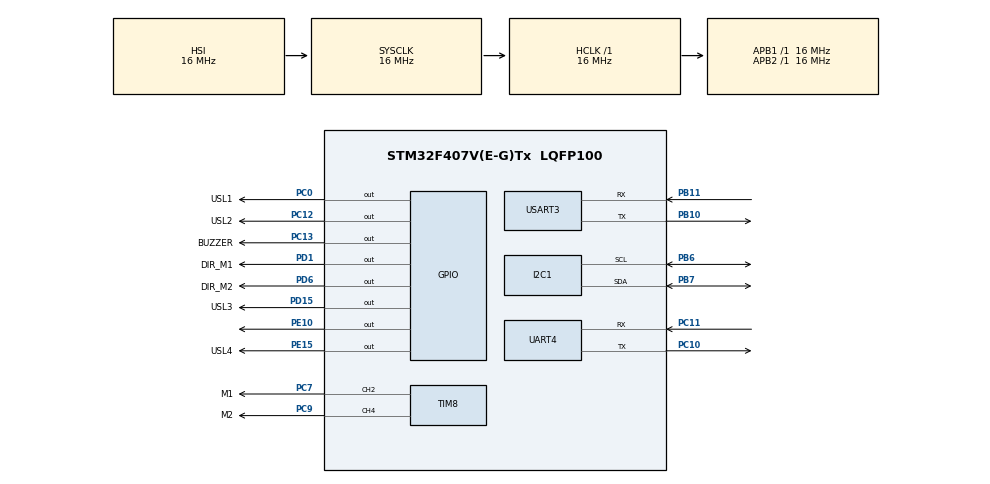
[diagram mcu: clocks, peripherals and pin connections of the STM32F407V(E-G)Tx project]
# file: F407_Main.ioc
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Dma.Request0=USART3_RX
Dma.Request1=UART4_RX
Dma.UART4_RX.1.Direction=DMA_PERIPH_TO_MEMORY
Dma.UART4_RX.1.FIFOMode=DMA_FIFOMODE_DISABLE
Dma.UART4_RX.1.Instance=DMA1_Stream2
Dma.UART4_RX.1.MemDataAlignment=DMA_MDATAALIGN_BYTE
Dma.UART4_RX.1.MemInc=DMA_MINC_ENABLE
Dma.UART4_RX.1.Mode=DMA_CIRCULAR
Dma.UART4_RX.1.PeriphDataAlignment=DMA_PDATAALIGN_BYTE
Dma.UART4_RX.1.PeriphInc=DMA_PINC_DISABLE
Dma.UART4_RX.1.Priority=DMA_PRIORITY_LOW
Dma.USART3_RX.0.Direction=DMA_PERIPH_TO_MEMORY
Dma.USART3_RX.0.FIFOMode=DMA_FIFOMODE_DISABLE
Dma.USART3_RX.0.Instance=DMA1_Stream1
Dma.USART3_RX.0.MemDataAlignment=DMA_MDATAALIGN_BYTE
Dma.USART3_RX.0.MemInc=DMA_MINC_ENABLE
Dma.USART3_RX.0.Mode=DMA_CIRCULAR
Dma.USART3_RX.0.PeriphDataAlignment=DMA_PDATAALIGN_BYTE
Dma.USART3_RX.0.PeriphInc=DMA_PINC_DISABLE
Dma.USART3_RX.0.Priority=DMA_PRIORITY_LOW
Mcu.Family=STM32F4
Mcu.Name=STM32F407V(E-G)Tx
Mcu.Package=LQFP100
NVIC.DMA1_Stream1_IRQn=true\:0\:0\:false\:false\:true\:false\:true\:true
NVIC.DMA1_Stream2_IRQn=true\:0\:0\:false\:false\:true\:false\:true\:true
NVIC.FPU_IRQn=true\:0\:0\:false\:false\:true\:true\:false\:true
NVIC.I2C1_ER_IRQn=true\:0\:0\:false\:false\:true\:true\:true\:true
NVIC.I2C1_EV_IRQn=true\:0\:0\:false\:false\:true\:true\:true\:true
NVIC.PriorityGroup=NVIC_PRIORITYGROUP_3
NVIC.RCC_IRQn=true\:1\:0\:true\:false\:true\:true\:false\:true
NVIC.TIM1_CC_IRQn=true\:0\:0\:false\:false\:true\:true\:true\:true
NVIC.TIM1_UP_TIM10_IRQn=true\:1\:0\:true\:false\:true\:true\:true\:true
NVIC.TIM8_CC_IRQn=true\:0\:0\:true\:false\:true\:true\:true\:true
NVIC.TIM8_UP_TIM13_IRQn=true\:0\:0\:true\:false\:true\:true\:true\:true
NVIC.UART4_IRQn=true\:0\:0\:false\:false\:true\:true\:true\:true
PA13.Mode=Serial_Wire
PA13.Signal=SYS_JTMS-SWDIO
PA14.Mode=Serial_Wire
PA14.Signal=SYS_JTCK-SWCLK
PB10.Mode=Asynchronous
PB10.Signal=USART3_TX
PB11.Mode=Asynchronous
PB11.Signal=USART3_RX
PB6.GPIO_Pu=GPIO_PULLUP
PB6.Mode=I2C
PB6.Signal=I2C1_SCL
PB7.GPIO_Pu=GPIO_PULLUP
PB7.Mode=I2C
PB7.Signal=I2C1_SDA
PC0.GPIO_Label=USL1
PC0.GPIO_ModeDefaultOutputPP=GPIO_MODE_OUTPUT_OD
PC0.GPIO_PuPd=GPIO_NOPULL
PC0.GPIO_Speed=GPIO_SPEED_FREQ_VERY_HIGH
PC0.PinState=GPIO_PIN_SET
PC0.Signal=GPIO_Output
PC10.Mode=Asynchronous
PC10.Signal=UART4_TX
PC11.Mode=Asynchronous
PC11.Signal=UART4_RX
PC12.GPIO_Label=USL2
PC12.PinState=GPIO_PIN_RESET
PC12.Signal=GPIO_Output
PC13-ANTI_TAMP.GPIO_Label=BUZZER
PC13-ANTI_TAMP.GPIO_ModeDefaultOutputPP=GPIO_MODE_OUTPUT_OD
PC13-ANTI_TAMP.GPIO_PuPd=GPIO_NOPULL
PC13-ANTI_TAMP.Signal=GPIO_Output
PC14-OSC32_IN.Mode=LSE-External-Oscillator
PC14-OSC32_IN.Signal=RCC_OSC32_IN
PC15-OSC32_OUT.Mode=LSE-External-Oscillator
PC15-OSC32_OUT.Signal=RCC_OSC32_OUT
PC7.GPIO_Label=M1
PC7.Signal=S_TIM8_CH2
PC9.GPIO_Label=M2
PC9.Signal=S_TIM8_CH4
PD1.GPIO_Label=DIR_M1
PD1.Signal=GPIO_Output
PD15.GPIO_Label=USL3
PD15.PinState=GPIO_PIN_RESET
PD15.Signal=GPIO_Output
PD6.GPIO_Label=DIR_M2
PD6.Signal=GPIO_Output
PE10.PinState=GPIO_PIN_RESET
PE10.Signal=GPIO_Output
PE15.GPIO_Label=USL4
PE15.PinState=GPIO_PIN_RESET
PE15.Signal=GPIO_Output
PH0-OSC_IN.Mode=HSE-External-Oscillator
PH0-OSC_IN.Signal=RCC_OSC_IN
PH1-OSC_OUT.Mode=HSE-External-Oscillator
PH1-OSC_OUT.Signal=RCC_OSC_OUT
ProjectManager.HeapSize=0x200
ProjectManager.StackSize=0x400
ProjectManager.TargetToolchain=MDK-ARM V5
RCC.48MHZClocksFreq_Value=32000000
RCC.AHBFreq_Value=16000000
RCC.APB1Freq_Value=16000000
RCC.APB1TimFreq_Value=16000000
RCC.APB2Freq_Value=16000000
RCC.APB2TimFreq_Value=16000000
RCC.CortexFreq_Value=16000000
RCC.HCLKFreq_Value=16000000
RCC.HSE_VALUE=25000000
RCC.HSI_VALUE=16000000
RCC.PLLM=25
RCC.PLLN=128
RCC.PLLSourceVirtual=RCC_PLLSOURCE_HSE
RCC.SYSCLKFreq_VALUE=16000000
RCC.VCOOutputFreq_Value=128000000
SH.S_TIM8_CH2.0=TIM8_CH2,PWM Generation2 CH2
SH.S_TIM8_CH4.0=TIM8_CH4,PWM Generation4 CH4
TIM8.Channel-PWM\ Generation2\ CH2=TIM_CHANNEL_2
TIM8.Channel-PWM\ Generation4\ CH4=TIM_CHANNEL_4
TIM8.OCPolarity_2=TIM_OCPOLARITY_LOW
UART4.VirtualMode=Asynchronous
USART3.VirtualMode=VM_ASYNC
VP_TIM1_VS_ClockSourceINT.Mode=Internal
board=custom

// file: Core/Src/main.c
/* USER CODE BEGIN Header */
/**
 ******************************************************************************
 * @file           : main.c
 * @brief          : Main program body
 ******************************************************************************
 * @attention
 *
 * Copyright (c) 2023 STMicroelectronics.
 * All rights reserved.
 *
 * This software is licensed under terms that can be found in the LICENSE file
 * in the root directory of this software component.
 * If no LICENSE file comes with this software, it is provided AS-IS.
 *
 ******************************************************************************
 */
/* USER CODE END Header */
#include "main.h"
#include "dma.h"
#include "i2c.h"
#include "tim.h"
#include "usart.h"
#include "gpio.h"

/* USER CODE BEGIN Includes */
#include "stdbool.h"
#include "pid.h"
#include "math.h"
// #include "tca9548a.h"

/* USER CODE END Includes */

/* USER CODE BEGIN PTD */
PID_TypeDef RPID;
/* USER CODE END PTD */

/* USER CODE BEGIN PV */

uint16_t PWM_Freq = 5000;

// variables for MPU data
uint8_t Buffer[11];
bool check = 1;
float theta = 0;

// variables for UART to Swerve module
uint16_t temp_angle = 300;

// variables for I2C
uint16_t SWERVE_DRIVE_1_ADDR = 0x15 << 1;
uint8_t I2C_Tx_Buffer[] = {0x05, 0x00, 0x00};
uint8_t Scan_arr[128];
/* USER CODE END PV */

void SystemClock_Config(void);

/* USER CODE BEGIN PFP */
void HAL_UART_RxCpltCallback(UART_HandleTypeDef *huart);
/* USER CODE END PFP */

/* USER CODE BEGIN 0 */

void Buzzer_Beep(uint8_t times, uint8_t duration)
{
  for (uint8_t i = 0; i < times; i++)
  {
    HAL_GPIO_WritePin(BUZZER_GPIO_Port, BUZZER_Pin, GPIO_PIN_RESET);
    HAL_Delay(duration);
    HAL_GPIO_WritePin(BUZZER_GPIO_Port, BUZZER_Pin, GPIO_PIN_SET);
    HAL_Delay(duration);
  }
}

void MPU_Data_Merge(bool Flag)
{
  if (Flag)
  {
    if (Buffer[0] == 0x55 && Buffer[1] == 0x53)
    {
      Flag = false;
      theta = (Buffer[7] << 8 | Buffer[6]) / 32768.0 * 180;
    }
    else
    {
      return;
    }
  }
}

// 0 to disable PWM
void PWM_Gen(uint8_t channel, uint32_t duty)
{
  uint32_t period = (SystemCoreClock / PWM_Freq) - 1;
  htim8.Instance->ARR = period;
  switch (channel)
  {
  case 1:
    duty == 0 ? HAL_TIM_PWM_Stop(&htim8, TIM_CHANNEL_1) : HAL_TIM_PWM_Start(&htim8, TIM_CHANNEL_1);
    htim8.Instance->CCR1 = (period * duty) / 100;
    break;
  case 2:
    duty == 0 ? HAL_TIM_PWM_Stop(&htim8, TIM_CHANNEL_2) : HAL_TIM_PWM_Start(&htim8, TIM_CHANNEL_2);
    htim8.Instance->CCR2 = (period * duty) / 100;
    break;
  case 3:
    duty == 0 ? HAL_TIM_PWM_Stop(&htim8, TIM_CHANNEL_3) : HAL_TIM_PWM_Start(&htim8, TIM_CHANNEL_3);
    htim8.Instance->CCR3 = (period * duty) / 100;
    break;
  case 4:
    duty == 0 ? HAL_TIM_PWM_Stop(&htim8, TIM_CHANNEL_4) : HAL_TIM_PWM_Start(&htim8, TIM_CHANNEL_4);
    htim8.Instance->CCR4 = (period * duty) / 100;
    break;
  case 0:
    HAL_TIM_PWM_Stop(&htim8, TIM_CHANNEL_ALL);
    HAL_TIM_Base_Stop_IT(&htim8);
    break;
  default:
    break;
  }
}

void HAL_TIM_PeriodElapsedCallback(TIM_HandleTypeDef *htim)
{
  if (htim->Instance == TIM1)
  {
  }
}

void Div16_To_8(uint16_t data, uint8_t *data_array)
{
  *(data_array + 1) = (uint8_t)((data & 0xFF00) >> 8);
  *(data_array + 2) = (uint8_t)(data & 0x00FF);
}

void I2C_Scan()
{
  uint8_t i;
  HAL_StatusTypeDef res;

  for (i = 0; i < 128; i++)
  {
    res = HAL_I2C_IsDeviceReady(&hi2c1, (uint16_t)(i << 1), 1, 100);
    if (res == HAL_OK)
    {
      Scan_arr[i] = 1;
    }
    else
    {
      Scan_arr[i] = 0;
    }
  }
  if (Scan_arr[21] == 0)
  {
    while (HAL_I2C_IsDeviceReady(&hi2c1, (uint16_t)(21 << 1), 1, 100) != HAL_OK)
    {
      Buzzer_Beep(1, 50);
    }
  }
}

/* USER CODE END 0 */

int main(void)
{

  /* MCU Configuration--------------------------------------------------------*/

  /* Reset of all peripherals, Initializes the Flash interface and the Systick. */
  HAL_Init();

  /* Configure the system clock */
  SystemClock_Config();

  /* Initialize all configured peripherals */
  MX_GPIO_Init();
  MX_DMA_Init();
  MX_TIM8_Init();
  MX_USART3_UART_Init();
  MX_TIM1_Init();
  MX_UART4_Init();
  MX_I2C1_Init();
  /* USER CODE BEGIN 2 */
  I2C_Scan();
  HAL_GPIO_WritePin(BUZZER_GPIO_Port, BUZZER_Pin, GPIO_PIN_SET);
  HAL_TIM_PWM_Start(&htim8, TIM_CHANNEL_1);
  /* USER CODE END 2 */

  /* Infinite loop */
  /* USER CODE BEGIN WHILE */
  while (1)
  {
    HAL_Delay(10);

    Div16_To_8(100, I2C_Tx_Buffer);
    HAL_I2C_Master_Transmit(&hi2c1, SWERVE_DRIVE_1_ADDR, I2C_Tx_Buffer, 3, 10);
    HAL_Delay(5000);
    Div16_To_8(200, I2C_Tx_Buffer);
    HAL_I2C_Master_Transmit(&hi2c1, SWERVE_DRIVE_1_ADDR, I2C_Tx_Buffer, 3, 10);
    HAL_Delay(5000);
    Div16_To_8(90, I2C_Tx_Buffer);
    HAL_I2C_Master_Transmit(&hi2c1, SWERVE_DRIVE_1_ADDR, I2C_Tx_Buffer, 3, 10);
    HAL_Delay(5000);
    Div16_To_8(270, I2C_Tx_Buffer);
    HAL_I2C_Master_Transmit(&hi2c1, SWERVE_DRIVE_1_ADDR, I2C_Tx_Buffer, 3, 10);
    HAL_Delay(5000);
    Buzzer_Beep(1, 5);
    /* USER CODE END WHILE */

  }
}

void SystemClock_Config(void)
{
  RCC_OscInitTypeDef RCC_OscInitStruct = {0};
  RCC_ClkInitTypeDef RCC_ClkInitStruct = {0};

  /** Configure the main internal regulator output voltage
   */
  __HAL_RCC_PWR_CLK_ENABLE();
  __HAL_PWR_VOLTAGESCALING_CONFIG(PWR_REGULATOR_VOLTAGE_SCALE1);

  /** Initializes the RCC Oscillators according to the specified parameters
   * in the RCC_OscInitTypeDef structure.
   */
  RCC_OscInitStruct.OscillatorType = RCC_OSCILLATORTYPE_HSI;
  RCC_OscInitStruct.HSIState = RCC_HSI_ON;
  RCC_OscInitStruct.HSICalibrationValue = RCC_HSICALIBRATION_DEFAULT;
  RCC_OscInitStruct.PLL.PLLState = RCC_PLL_NONE;
  if (HAL_RCC_OscConfig(&RCC_OscInitStruct) != HAL_OK)
  {
    Error_Handler();
  }

  /** Initializes the CPU, AHB and APB buses clocks
   */
  RCC_ClkInitStruct.ClockType = RCC_CLOCKTYPE_HCLK | RCC_CLOCKTYPE_SYSCLK | RCC_CLOCKTYPE_PCLK1 | RCC_CLOCKTYPE_PCLK2;
  RCC_ClkInitStruct.SYSCLKSource = RCC_SYSCLKSOURCE_HSI;
  RCC_ClkInitStruct.AHBCLKDivider = RCC_SYSCLK_DIV1;
  RCC_ClkInitStruct.APB1CLKDivider = RCC_HCLK_DIV1;
  RCC_ClkInitStruct.APB2CLKDivider = RCC_HCLK_DIV1;

  if (HAL_RCC_ClockConfig(&RCC_ClkInitStruct, FLASH_LATENCY_0) != HAL_OK)
  {
    Error_Handler();
  }
}

void Error_Handler(void)
{
  __disable_irq();
  while (1)
  {
  }
}
